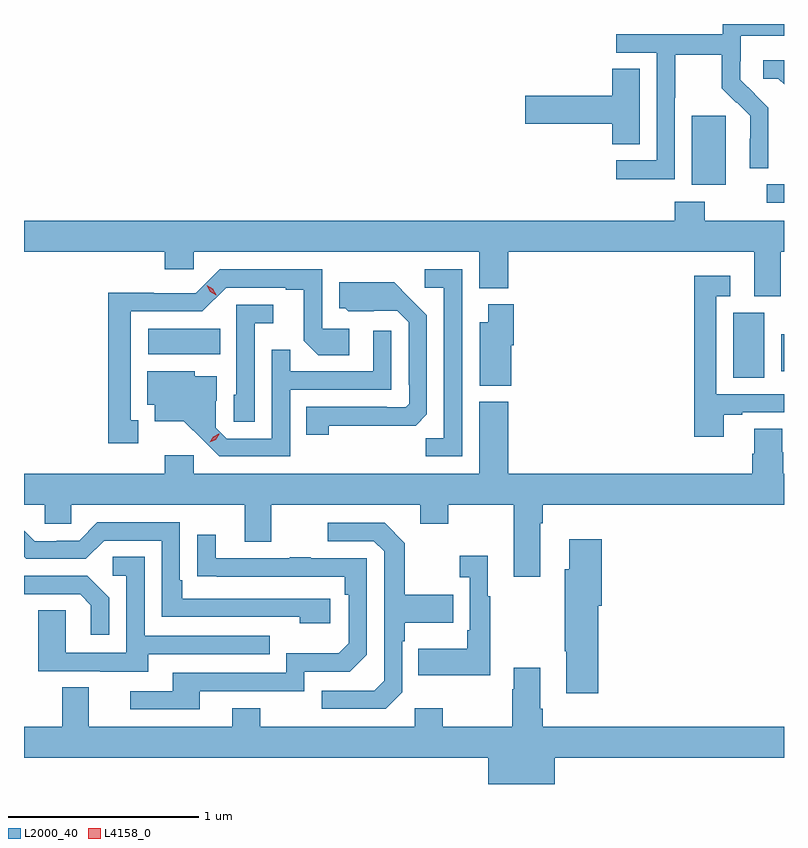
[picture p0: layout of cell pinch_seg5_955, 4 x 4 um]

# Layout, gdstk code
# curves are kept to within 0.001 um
import gdstk
lib = gdstk.Library(unit=1e-6, precision=1e-09)
def R(c, l, rs):  # rectangles x0, y0, x1, y1
    for r in rs: c.add(gdstk.rectangle(r[:2], r[2:], *l))
def P(c, l, *ps):  # polygons
    for p in ps: c.add(gdstk.Polygon(p, *l))
L2000_40 = (2000, 40)
L4158_0 = (4158, 0)

pinch_seg5_955 = lib.new_cell('pinch_seg5_955')
R(pinch_seg5_955, L2000_40, [(757.838,877.408,758.002,877.752), (758.09,877.443,758.105,877.639), (754.758,877.532,755.138,877.666), (758.013,878.331,758.105,878.427), (757.619,878.426,757.798,878.787)])
P(pinch_seg5_955, L2000_40, [(757.53,878.884),(757.533,878.884),(757.533,879.108),(757.777,879.108),(757.777,878.933),(757.854,878.856),(757.857,878.859),(757.928,878.789),(757.928,878.666),(757.926,878.666),(757.926,878.512),(758.022,878.512),(758.022,878.83),(757.876,878.978),(757.876,879.075),(757.878,879.075),(757.878,879.209),(758.105,879.209),(758.105,879.271),(757.782,879.271),(757.782,879.216),(757.221,879.216),(757.221,879.12),(757.434,879.12),(757.434,878.553),(757.221,878.553),(757.221,878.455),(757.53,878.455)],
  [(758.105,879.079),(757.995,879.079),(757.995,878.982),(758.076,878.982),(758.105,878.953)],
  [(757.345,879.035),(757.202,879.035),(757.202,878.894),(756.744,878.894),(756.744,878.747),(757.202,878.747),(757.202,878.638),(757.345,878.638)],
  [(758.089,878.072),(758.105,878.072),(758.105,878.236),(757.689,878.236),(757.689,878.335),(757.529,878.335),(757.529,878.236),(754.105,878.236),(754.105,878.072),(754.847,878.072),(754.847,877.979),(754.998,877.979),(754.998,878.072),(756.5,878.072),(756.5,877.88),(756.653,877.88),(756.653,878.072),(757.949,878.072),(757.949,877.837),(758.089,877.837)],
  [(754.705,877.185),(754.666,877.185),(754.666,877.758),(755.043,877.758),(755.169,877.884),(755.483,877.884),(755.483,877.872),(755.577,877.872),(755.577,877.604),(755.653,877.528),(755.818,877.528),(755.818,877.668),(755.676,877.668),(755.676,877.98),(755.136,877.98),(755.01,877.854),(754.788,877.854),(754.788,877.856),(754.548,877.856),(754.548,877.065),(754.705,877.065)],
  [(756.411,877.98),(756.213,877.98),(756.213,877.884),(756.315,877.884),(756.315,877.091),(756.22,877.091),(756.22,876.996),(756.411,876.996)],
  [(757.789,877.215),(757.885,877.215),(757.885,877.227),(758.105,877.227),(758.105,877.323),(757.749,877.323),(757.749,877.839),(757.822,877.839),(757.822,877.945),(757.633,877.945),(757.633,877.098),(757.789,877.098)],
  [(755.709,877.156),(756.166,877.157),(756.225,877.216),(756.225,877.738),(756.053,877.912),(755.765,877.912),(755.765,877.776),(755.796,877.776),(755.812,877.76),(756.069,877.761),(756.129,877.701),(756.129,877.372),(756.132,877.372),(756.132,877.272),(756.114,877.254),(756.014,877.254),(756.014,877.257),(755.59,877.257),(755.59,877.11),(755.709,877.11)],
  [(756.67,877.581),(756.683,877.581),(756.683,877.795),(756.548,877.795),(756.548,877.702),(756.503,877.702),(756.503,877.367),(756.67,877.367)],
  [(755.319,877.697),(755.416,877.697),(755.416,877.794),(755.223,877.794),(755.223,877.32),(755.208,877.32),(755.208,877.177),(755.319,877.177)],
  [(755.505,877.347),(756.039,877.347),(756.039,877.657),(755.943,877.657),(755.943,877.443),(755.507,877.443),(755.507,877.556),(755.409,877.556),(755.409,877.089),(755.172,877.089),(755.115,877.146),(755.115,877.288),(755.119,877.288),(755.119,877.417),(755.004,877.417),(755.004,877.444),(754.754,877.444),(754.754,877.268),(754.793,877.268),(754.793,877.181),(754.945,877.181),(755.132,876.996),(755.505,876.996)],
  [(756.823,876.644),(756.836,876.644),(756.836,876.74),(758.105,876.74),(758.105,876.904),(758.102,876.904),(758.102,877.017),(758.097,877.017),(758.097,877.142),(757.949,877.142),(757.949,877.01),(757.937,877.01),(757.937,876.904),(756.653,876.904),(756.653,877.282),(756.5,877.282),(756.5,876.904),(754.998,876.904),(754.998,877),(754.847,877),(754.847,876.904),(754.105,876.904),(754.105,876.74),(754.215,876.74),(754.215,876.642),(754.353,876.642),(754.353,876.74),(755.267,876.74),(755.267,876.546),(755.407,876.546),(755.407,876.74),(756.191,876.74),(756.191,876.641),(756.339,876.641),(756.339,876.74),(756.683,876.74),(756.683,876.363),(756.823,876.363)],
  [(755.716,876.246),(754.939,876.246),(754.939,876.343),(754.926,876.343),(754.926,876.648),(754.491,876.648),(754.395,876.552),(754.277,876.552),(754.277,876.549),(754.161,876.549),(754.105,876.605),(754.105,876.467),(754.116,876.456),(754.431,876.456),(754.527,876.552),(754.83,876.552),(754.83,876.15),(755.555,876.15),(755.555,876.116),(755.716,876.116)],
  [(756.096,875.754),(756.096,876.023),(756.109,876.023),(756.109,876.119),(756.365,876.119),(756.365,876.267),(756.109,876.267),(756.109,876.539),(756.003,876.645),(755.703,876.645),(755.703,876.549),(755.946,876.549),(756,876.495),(756,875.814),(755.949,875.763),(755.673,875.763),(755.673,875.667),(756.009,875.667)],
  [(755.029,875.76),(755.58,875.76),(755.58,875.862),(755.82,875.862),(755.91,875.952),(755.91,876.459),(755.615,876.459),(755.615,876.464),(755.503,876.464),(755.503,876.459),(755.113,876.459),(755.113,876.583),(755.017,876.583),(755.017,876.364),(755.794,876.363),(755.794,876.266),(755.814,876.266),(755.814,876.012),(755.761,875.959),(755.484,875.959),(755.484,875.856),(754.889,875.856),(754.889,875.76),(754.665,875.76),(754.665,875.664),(755.029,875.664)],
  [(757.127,876.21),(757.145,876.21),(757.145,876.559),(756.974,876.559),(756.974,876.402),(756.952,876.402),(756.952,875.971),(756.959,875.971),(756.959,875.748),(757.127,875.748)],
  [(756.559,876.259),(756.547,876.259),(756.547,876.472),(756.399,876.472),(756.399,876.359),(756.45,876.359),(756.45,876.079),(756.438,876.079),(756.438,875.983),(756.181,875.983),(756.181,875.843),(756.559,875.843)],
  [(754.759,875.955),(755.399,875.955),(755.399,876.051),(754.74,876.051),(754.74,876.467),(754.572,876.467),(754.572,876.366),(754.644,876.366),(754.644,875.961),(754.326,875.961),(754.326,876.185),(754.181,876.185),(754.181,875.865),(754.505,875.865),(754.505,875.861),(754.759,875.861)],
  [(754.554,876.25),(754.438,876.366),(754.105,876.366),(754.105,876.27),(754.4,876.27),(754.457,876.213),(754.457,876.057),(754.554,876.057)],
  [(756.898,875.408),(758.105,875.408),(758.105,875.572),(756.836,875.572),(756.836,875.668),(756.823,875.668),(756.823,875.884),(756.683,875.884),(756.683,875.771),(756.676,875.771),(756.676,875.572),(756.309,875.572),(756.309,875.671),(756.162,875.671),(756.162,875.572),(755.349,875.572),(755.349,875.671),(755.201,875.671),(755.201,875.572),(754.447,875.572),(754.447,875.78),(754.307,875.78),(754.307,875.572),(754.105,875.572),(754.105,875.408),(756.548,875.408),(756.548,875.271),(756.898,875.271)])
P(pinch_seg5_955, L4158_0, [(755.082,877.069),(755.082,877.07),(755.1,877.099),(755.131,877.114),(755.132,877.114),(755.132,877.113),(755.113,877.084),(755.082,877.069)],
  [(755.116,877.844),(755.084,877.863),(755.066,877.896),(755.066,877.896),(755.067,877.896),(755.098,877.877),(755.116,877.845),(755.116,877.844)])

lib.write_gds('pinch_seg5_955.gds')
